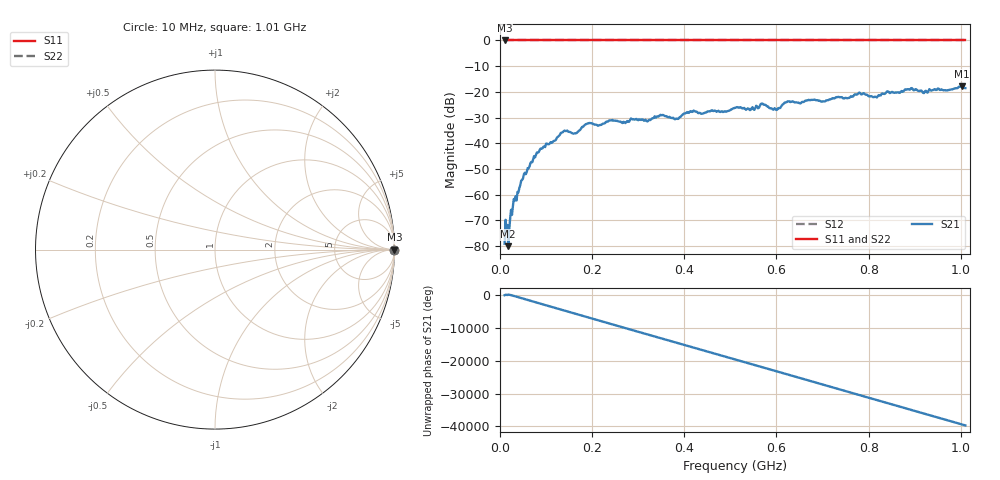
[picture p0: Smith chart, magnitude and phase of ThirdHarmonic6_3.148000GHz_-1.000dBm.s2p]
! 8/17/2025 9:25:07 AM
! C:\ANRITSUVNA\TEMP\TEMP.S2P
! CHANNEL.1
! TR.MEASUREMENT
! RAW.DATA
! RF.CORRECTION.OFF
! AVERAGING.OFF
! IF.BANDWIDTH: 5KHZ
! SWEEPTYPE:  FREQ.SWEEP(Linear)
! Reference Plane Port Info
! PORT:  PORT1  PORT2
! DISTANCE:  0  m  0  m
! TIME:  0  s  0  s
! PHASE.OFFSET:  0  deg.  0  deg.
! LOSS:  0  dB  0  dB
! REF.LOSS:  0  dB  0  dB
! REF.FREQ:  0  Hz  0  Hz
! Power Info
! POWER:  -20  dBm  -20  dBm
! EFF.POWER:  -20  dBm  -20  dBm
! SOURCE.ATTEN:  0  dB  0  dB
! TEST.ATTEN:  0  dB  0  dB
# GHZ S RI R 50.0
! FREQ.GHZ  S11RE  S11IM  S21RE  S21IM  S12RE  S12IM  S22RE  S22IM
!; PortSelection: Port_12
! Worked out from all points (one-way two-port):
!   501 points, 10 MHz to 1.01 GHz, reference 50 ohm
!   highest |S21| = -17.79 dB at 1.002 GHz (marker M1); lowest = -80.1 dB at 18 MHz (marker M2)
!   lowest |S11| = 0.0 dB at 10 MHz (marker M3)
!   |S11| at or under -10 dB: nowhere
!   |S22| runs from 0.0 to 0.0 dB; largest |S21 - S12| = 1.1
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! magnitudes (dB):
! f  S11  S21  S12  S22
! 10 MHz  0.0  -79.1  0.0  0.0
! 18 MHz  0.0  -80.1  0.0  0.0
! 28 MHz  0.0  -64.5  0.0  0.0
! 48 MHz  0.0  -54.2  0.0  0.0
! 78 MHz  0.0  -44.6  0.0  0.0
! 136 MHz  0.0  -35.7  0.0  0.0
! 162 MHz  0.0  -36.2  0.0  0.0
! 178 MHz  0.0  -33.7  0.0  0.0
! 344 MHz  0.0  -29.6  0.0  0.0
! 384 MHz  0.0  -30.4  0.0  0.0
! 416 MHz  0.0  -27.8  0.0  0.0
! 510 MHz  0.0  -26.2  0.0  0.0
! 548 MHz  0.0  -26.0  0.0  0.0
! 570 MHz  0.0  -24.6  0.0  0.0
! 598 MHz  0.0  -26.8  0.0  0.0
! 624 MHz  0.0  -23.7  0.0  0.0
! 678 MHz  0.0  -23.1  0.0  0.0
! 780 MHz  0.0  -20.3  0.0  0.0
! 814 MHz  0.0  -21.9  0.0  0.0
! 844 MHz  0.0  -20.2  0.0  0.0
! 1.002 GHz  0.0  -17.8  0.0  0.0
! 1.01 GHz  0.0  -18.5  0.0  0.0
